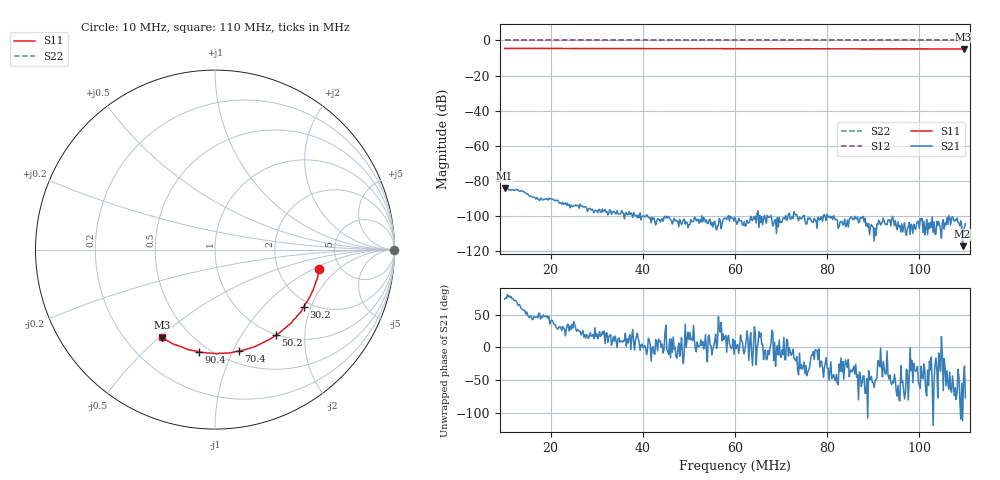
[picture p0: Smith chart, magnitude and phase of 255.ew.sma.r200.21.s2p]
! Anritsu VNA Master:  Model: MS2036C/10/77
! SN:  1601066
! /card0/usr/255.ew.sma.r200.21.s2p
! Existing Calibration Information:
! TYPE:  Current Settings,  Active Cal Settings
! TIME:  12/19/2017 06:21:52 PM,  12/19/2017 06:04:41 PM
! INTERNAL TEMP:  41.5 C,  39.8 C
! # POINTS:  501,  501
! START FREQ:  10.000 MHz,  10.000 MHz
! STOP FREQ:  110.000 MHz,  110.000 MHz
! SOURCE POWER:  High,  High
! IFBW:  100 Hz,  100 Hz
! AVG FACTOR:  1 ,  1
! REF PLANE 1:  0 mm,  0 mm
! REF PLANE 2:  0 mm,  0 mm
! CAL TYPE:  Full S11,  Full S11
! CAL METHOD:  SOLT,  SOLT
! CAL LINE TYPE:  Coax,  Coax
! DUT PORT 1:  N-Conn(F),  N-Conn(F)
! DUT PORT 2:  K-Conn(F),  K-Conn(F)
! CAL STATUS:  OK: Accuracy High,  --
# GHZ S DB R 50.0
! FREQ.GHZ  S11DB  S11A  S21DB  S21A  S12DB  S12A  S22DB  S22A
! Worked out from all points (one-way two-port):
!   501 points, 10 MHz to 110 MHz, reference 50 ohm
!   highest |S21| = -84.17 dB at 10 MHz (marker M1); lowest = -117.1 dB at 109.4 MHz (marker M2)
!   lowest |S11| = -4.8 dB at 109.6 MHz (marker M3), VSWR 3.67, Z = 17.6 - j25.6 ohm
!   |S11| at or under -10 dB: nowhere
!   |S22| runs from 0.0 to 0.0 dB; largest |S21 - S12| = 1
!   S11 on the Smith chart (normalised r, x): 10 MHz: 3.46, -1.17; 30.2 MHz: 1.84, -1.78; 50.2 MHz: 0.99, -1.44; 70.4 MHz: 0.62, -1.05; 90.4 MHz: 0.44, -0.75; 110 MHz: 0.35, -0.51
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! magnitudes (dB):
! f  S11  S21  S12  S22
! 10 MHz  -4.6  -84.2  0.0  0.0
! 26.8 MHz  -4.6  -94.1  0.0  0.0
! 30.2 MHz  -4.6  -98.1  0.0  0.0
! 33 MHz  -4.6  -96.7  0.0  0.0
! 35.6 MHz  -4.6  -98.0  0.0  0.0
! 38.8 MHz  -4.6  -101.0  0.0  0.0
! 40.6 MHz  -4.6  -100.4  0.0  0.0
! 43.4 MHz  -4.6  -102.0  0.0  0.0
! 50.2 MHz  -4.7  -104.9  0.0  0.0
! 60 MHz  -4.7  -100.8  0.0  0.0
! 70.4 MHz  -4.7  -101.2  0.0  0.0
! 76.8 MHz  -4.7  -103.5  0.0  0.0
! 79 MHz  -4.8  -103.0  0.0  0.0
! 88.4 MHz  -4.8  -105.5  0.0  0.0
! 90.4 MHz  -4.8  -106.8  0.0  0.0
! 93.4 MHz  -4.8  -102.4  0.0  0.0
! 95.4 MHz  -4.8  -103.2  0.0  0.0
! 98.8 MHz  -4.8  -104.5  0.0  0.0
! 103.2 MHz  -4.8  -103.2  0.0  0.0
! 109.4 MHz  -4.8  -117.1  0.0  0.0
! 109.6 MHz  -4.8  -108.1  0.0  0.0
! 110 MHz  -4.8  -104.4  0.0  0.0
